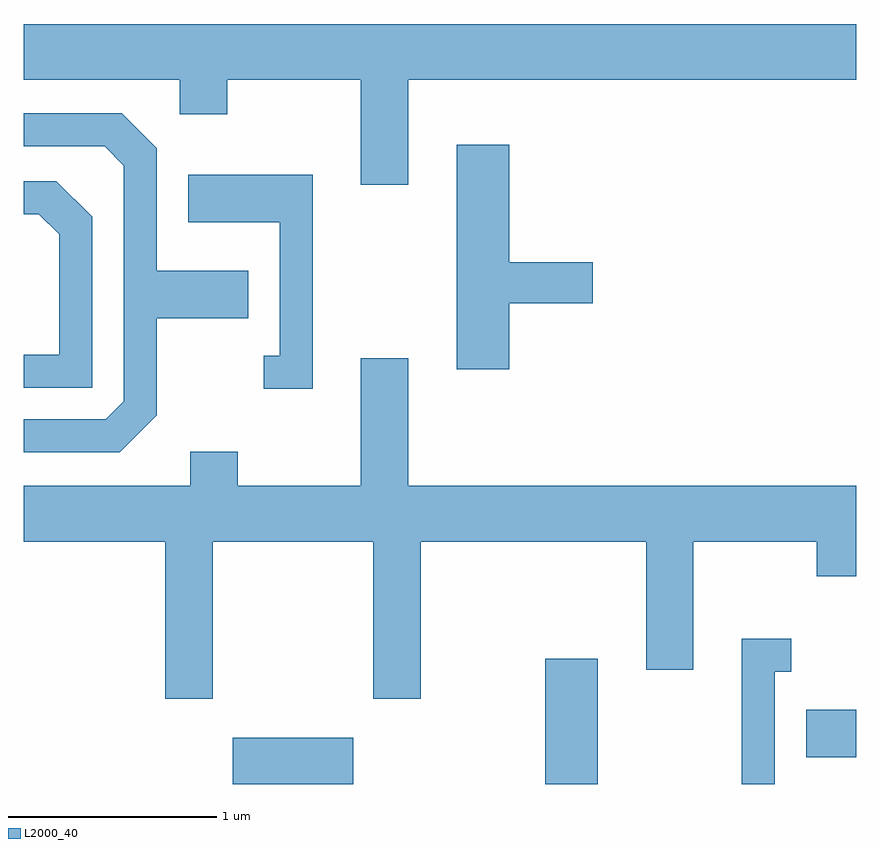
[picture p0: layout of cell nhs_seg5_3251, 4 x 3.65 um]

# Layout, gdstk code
import gdstk
lib = gdstk.Library(unit=1e-6, precision=1e-09)
def R(c, l, rs):  # rectangles x0, y0, x1, y1
    for r in rs: c.add(gdstk.rectangle(r[:2], r[2:], *l))
def P(c, l, *ps):  # polygons
    for p in ps: c.add(gdstk.Polygon(p, *l))
L2000_40 = (2000, 40)

nhs_seg5_3251 = lib.new_cell('nhs_seg5_3251')
R(nhs_seg5_3251, L2000_40, [(282.616,1460.072,283.194,1460.294), (284.116,1460.072,284.369,1460.674), (285.371,1460.201,285.611,1460.429)])
P(nhs_seg5_3251, L2000_40, [(283.459,1463.456),(285.611,1463.456),(285.611,1463.724),(281.611,1463.724),(281.611,1463.456),(282.361,1463.456),(282.361,1463.291),(282.589,1463.291),(282.589,1463.456),(283.231,1463.456),(283.231,1462.951),(283.459,1462.951)],
  [(282.249,1461.844),(282.249,1462.311),(282.689,1462.311),(282.689,1462.539),(282.249,1462.539),(282.249,1463.127),(282.082,1463.294),(281.611,1463.294),(281.611,1463.136),(281.999,1463.136),(282.091,1463.044),(282.091,1461.912),(282.004,1461.824),(281.611,1461.824),(281.611,1461.666),(282.072,1461.666)],
  [(283.944,1462.381),(284.344,1462.381),(284.344,1462.579),(283.944,1462.579),(283.944,1463.144),(283.691,1463.144),(283.691,1462.066),(283.944,1462.066)],
  [(282.999,1462.999),(282.401,1462.999),(282.401,1462.771),(282.841,1462.771),(282.841,1462.129),(282.763,1462.129),(282.763,1461.971),(282.999,1461.971)],
  [(281.939,1462.797),(281.767,1462.969),(281.611,1462.969),(281.611,1462.811),(281.684,1462.811),(281.781,1462.714),(281.781,1462.134),(281.611,1462.134),(281.611,1461.976),(281.939,1461.976)],
  [(282.519,1461.236),(283.291,1461.236),(283.291,1460.481),(283.519,1460.481),(283.519,1461.236),(284.601,1461.236),(284.601,1460.621),(284.829,1460.621),(284.829,1461.236),(285.421,1461.236),(285.421,1461.071),(285.611,1461.071),(285.611,1461.504),(283.459,1461.504),(283.459,1462.119),(283.231,1462.119),(283.231,1461.504),(282.639,1461.504),(282.639,1461.669),(282.411,1461.669),(282.411,1461.504),(281.611,1461.504),(281.611,1461.236),(282.291,1461.236),(282.291,1460.481),(282.519,1460.481)],
  [(285.219,1460.611),(285.298,1460.611),(285.298,1460.769),(285.061,1460.769),(285.061,1460.072),(285.219,1460.072)])

lib.write_gds('nhs_seg5_3251.gds')
